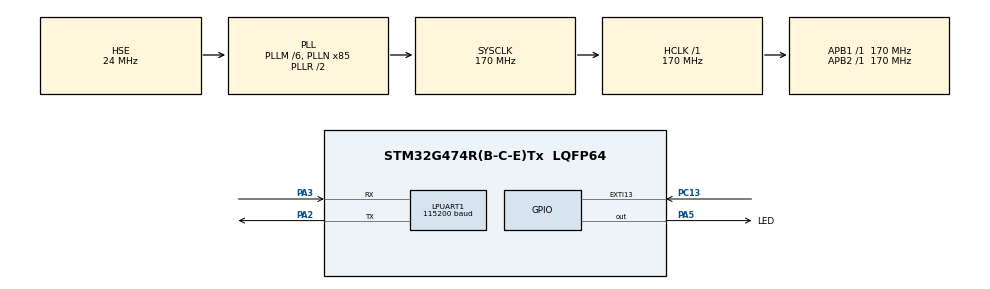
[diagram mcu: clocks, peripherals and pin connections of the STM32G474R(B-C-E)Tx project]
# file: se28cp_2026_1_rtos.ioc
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Dma.LPUART1_TX.0.Direction=DMA_MEMORY_TO_PERIPH
Dma.LPUART1_TX.0.EventEnable=DISABLE
Dma.LPUART1_TX.0.Instance=DMA1_Channel1
Dma.LPUART1_TX.0.MemDataAlignment=DMA_MDATAALIGN_BYTE
Dma.LPUART1_TX.0.MemInc=DMA_MINC_ENABLE
Dma.LPUART1_TX.0.Mode=DMA_NORMAL
Dma.LPUART1_TX.0.PeriphDataAlignment=DMA_PDATAALIGN_BYTE
Dma.LPUART1_TX.0.PeriphInc=DMA_PINC_DISABLE
Dma.LPUART1_TX.0.Polarity=HAL_DMAMUX_REQ_GEN_RISING
Dma.LPUART1_TX.0.Priority=DMA_PRIORITY_LOW
Dma.LPUART1_TX.0.RequestNumber=1
Dma.LPUART1_TX.0.SignalID=NONE
Dma.LPUART1_TX.0.SyncEnable=DISABLE
Dma.LPUART1_TX.0.SyncPolarity=HAL_DMAMUX_SYNC_NO_EVENT
Dma.LPUART1_TX.0.SyncRequestNumber=1
Dma.LPUART1_TX.0.SyncSignalID=NONE
Dma.Request0=LPUART1_TX
FREERTOS.Tasks01=defaultTask,0,256,StartDefaultTask,Default,NULL,Dynamic,NULL,NULL
FREERTOS.configENABLE_FPU=1
FREERTOS.configMAX_TASK_NAME_LEN=32
FREERTOS.configMINIMAL_STACK_SIZE=256
FREERTOS.configTIMER_TASK_STACK_DEPTH=256
FREERTOS.configTOTAL_HEAP_SIZE=16384
FREERTOS.configUSE_NEWLIB_REENTRANT=1
FREERTOS.configUSE_TIMERS=1
LPUART1.BaudRate=115200
Mcu.Family=STM32G4
Mcu.Name=STM32G474R(B-C-E)Tx
Mcu.Package=LQFP64
NVIC.DMA1_Channel1_IRQn=true\:5\:0\:false\:false\:true\:true\:false\:true\:true
NVIC.EXTI15_10_IRQn=true\:5\:0\:false\:false\:true\:true\:true\:true\:true
NVIC.LPUART1_IRQn=true\:5\:0\:false\:false\:true\:true\:true\:true\:true
NVIC.PriorityGroup=NVIC_PRIORITYGROUP_4
NVIC.TIM20_UP_IRQn=true\:15\:0\:false\:false\:true\:false\:false\:true\:true
NVIC.TimeBase=TIM20_UP_IRQn
NVIC.TimeBaseIP=TIM20
PA13.Mode=Serial_Wire
PA13.Signal=SYS_JTMS-SWDIO
PA14.Mode=Serial_Wire
PA14.Signal=SYS_JTCK-SWCLK
PA2.Mode=Asynchronous
PA2.Signal=LPUART1_TX
PA3.Mode=Asynchronous
PA3.Signal=LPUART1_RX
PA5.GPIO_Label=LED
PA5.Signal=GPIO_Output
PC13.GPIO_ModeDefaultEXTI=GPIO_MODE_IT_RISING
PC13.GPIO_PuPd=GPIO_PULLDOWN
PC13.Signal=GPXTI13
PF0-OSC_IN.Mode=HSE-External-Oscillator
PF0-OSC_IN.Signal=RCC_OSC_IN
PF1-OSC_OUT.Mode=HSE-External-Oscillator
PF1-OSC_OUT.Signal=RCC_OSC_OUT
ProjectManager.HeapSize=0x200
ProjectManager.StackSize=0x400
ProjectManager.TargetToolchain=STM32CubeIDE
RCC.ADC12Freq_Value=170000000
RCC.ADC345Freq_Value=170000000
RCC.AHBFreq_Value=170000000
RCC.APB1Freq_Value=170000000
RCC.APB1TimFreq_Value=170000000
RCC.APB2Freq_Value=170000000
RCC.APB2TimFreq_Value=170000000
RCC.CortexFreq_Value=170000000
RCC.EXTERNAL_CLOCK_VALUE=12288000
RCC.HCLKFreq_Value=170000000
RCC.HSE_VALUE=24000000
RCC.HSI48_VALUE=48000000
RCC.HSI_VALUE=16000000
RCC.LSE_VALUE=32768
RCC.PLLM=RCC_PLLM_DIV6
RCC.PLLN=85
RCC.PLLSourceVirtual=RCC_PLLSOURCE_HSE
RCC.SYSCLKFreq_VALUE=170000000
RCC.SYSCLKSource=RCC_SYSCLKSOURCE_PLLCLK
RCC.USBFreq_Value=170000000
RCC.VCOOutputFreq_Value=340000000
VP_FREERTOS_VS_CMSIS_V1.Mode=CMSIS_V1
VP_SYS_VS_DBSignals.Mode=DisableDeadBatterySignals
VP_SYS_VS_tim20.Mode=TIM20
board=custom

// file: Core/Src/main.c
/* USER CODE BEGIN Header */
/**
  ******************************************************************************
  * @file           : main.c
  * @brief          : Main program body
  ******************************************************************************
  * @attention
  *
  * Copyright (c) 2026 STMicroelectronics.
  * All rights reserved.
  *
  * This software is licensed under terms that can be found in the LICENSE file
  * in the root directory of this software component.
  * If no LICENSE file comes with this software, it is provided AS-IS.
  *
  ******************************************************************************
  */
/* USER CODE END Header */
#include "main.h"
#include "cmsis_os.h"

/* USER CODE BEGIN Includes */
#include <string.h>
#include <stdio.h>
#include "keyb.h"
/* USER CODE END Includes */

UART_HandleTypeDef hlpuart1;
DMA_HandleTypeDef hdma_lpuart1_tx;

osThreadId defaultTaskHandle;
/* USER CODE BEGIN PV */
SemaphoreHandle_t uart_mutex_tx;
SemaphoreHandle_t uart_sem_tx;
QueueHandle_t 	  uart_queue_rx;
/* USER CODE END PV */

void SystemClock_Config(void);
static void MX_GPIO_Init(void);
static void MX_DMA_Init(void);
static void MX_LPUART1_UART_Init(void);
void StartDefaultTask(void const * argument);

/* USER CODE BEGIN 0 */
typedef struct led_t_ {
	GPIO_TypeDef *port;
	uint16_t pin;
	TickType_t toggle_time;
}led_t;

void led_task(void *arg){
	led_t *led = (led_t *)arg;
	while(1){
		HAL_GPIO_TogglePin(led->port, led->pin);
		vTaskDelay(led->toggle_time);
	}
}

void HAL_UART_TxCpltCallback(UART_HandleTypeDef *huart)
{
  /* Prevent unused argument(s) compilation warning */
  UNUSED(huart);
  portBASE_TYPE teste = pdFALSE;

  xSemaphoreGiveFromISR(uart_sem_tx, &teste);
  portYIELD_FROM_ISR(teste);

}

void HAL_UART_RxCpltCallback(UART_HandleTypeDef *huart)
{
  /* Prevent unused argument(s) compilation warning */
  UNUSED(huart);
  portBASE_TYPE teste = pdFALSE;

  uint8_t data = huart->Instance->RDR;

  xQueueSendFromISR(uart_queue_rx, &data, &teste);
  portYIELD_FROM_ISR(teste);

}

HAL_StatusTypeDef uart_send_rtos(char *string, uint32_t size, TickType_t timeout){
	HAL_StatusTypeDef ret = HAL_ERROR;
	if (xSemaphoreTake(uart_mutex_tx, timeout) == pdTRUE){
		if (HAL_UART_Transmit_DMA(&hlpuart1, (uint8_t *)string, strlen(string)) == HAL_OK){
			xSemaphoreTake(uart_sem_tx, portMAX_DELAY);
			ret = HAL_OK;
		}
		xSemaphoreGive(uart_mutex_tx);
	}
	return ret;
}

uint32_t cnt1 = 0;
void uart_task(void *arg){
	char *text = (char *)arg;
	while(1){
		if (uart_send_rtos(text, strlen(text), portMAX_DELAY) == HAL_OK){
			cnt1++;
		}
		//taskYIELD();
		vTaskDelay(500);
	}
}

/*
void console_task(void *arg){
	(void)arg;
	uint8_t dados[16];
	while(1){
		// 1. Limpa explicitamente qualquer flag de IDLE residual no hardware
		__HAL_UART_CLEAR_FLAG(&hlpuart1, UART_CLEAR_IDLEF);

		// 2. Opcional: Uma leitura rápida para garantir a limpeza em famílias antigas
		volatile uint32_t tmpreg = hlpuart1.Instance->ISR; // ou ->SR dependendo do modelo
		tmpreg = hlpuart1.Instance->RDR;                   // ou ->DR
		(void)tmpreg; // Evita aviso de variável não utilizada
		if (HAL_UARTEx_ReceiveToIdle_IT(&hlpuart1, dados, 16) == HAL_OK){
			//if (xSemaphoreTake(mutex, portMAX_DELAY) == pdTRUE){
				HAL_UART_Transmit(&hlpuart1, (uint8_t *)dados, strlen((char *)dados), 1000);
				//xSemaphoreGive(mutex);
			//}
		}
	}
}
*/

void uart_rx(void *arg){
	char data;
	char text[128];
	HAL_UART_Receive_IT(&hlpuart1, (uint8_t *)&data, 1);

	while(1){
		xQueueReceive(uart_queue_rx, &data, portMAX_DELAY);
		sprintf(text, "echo: %c\n\r", data);
		uart_send_rtos(text, strlen(text), portMAX_DELAY);
		//uart_send_rtos("echo ", 5, portMAX_DELAY);
		//uart_send_rtos(&data, 1, portMAX_DELAY);
		//uart_send_rtos("\n\r", 2, portMAX_DELAY);
	}
}

volatile int count = 0;
void sobra_cpu(void *argument)
{
  int i = 0;
  int result = 0;
  /* Infinite loop */
  for(;;)
  {
	for(i=0;i<1024;i++){
		result = result ^ i;
	}
	count++;
  }
}

void keyboard_task(void *arg){
	button_t button;
	char text[32];
	keyb_init();
	while(1){
		keyb_read(&button, portMAX_DELAY);
		sprintf(text, "Button pressed: %d\n\r", button);
		uart_send_rtos(text, strlen(text), portMAX_DELAY);
	}
}
/* USER CODE END 0 */

int main(void)
{

  /* MCU Configuration--------------------------------------------------------*/

  /* Reset of all peripherals, Initializes the Flash interface and the Systick. */
  HAL_Init();

  /* Configure the system clock */
  SystemClock_Config();

  /* Initialize all configured peripherals */
  MX_GPIO_Init();
  MX_DMA_Init();
  MX_LPUART1_UART_Init();

  /* USER CODE BEGIN RTOS_MUTEX */
  /* add mutexes, ... */
  uart_mutex_tx = xSemaphoreCreateMutex();
  /* USER CODE END RTOS_MUTEX */

  /* USER CODE BEGIN RTOS_SEMAPHORES */
  /* add semaphores, ... */
  uart_sem_tx = xSemaphoreCreateBinary();
  /* USER CODE END RTOS_SEMAPHORES */

  /* USER CODE BEGIN RTOS_QUEUES */
  /* add queues, ... */
  uart_queue_rx = xQueueCreate(16, sizeof(uint8_t));
  /* USER CODE END RTOS_QUEUES */

  /* Create the thread(s) */
  /* definition and creation of defaultTask */
  osThreadDef(defaultTask, StartDefaultTask, osPriorityNormal, 0, 256);
  defaultTaskHandle = osThreadCreate(osThread(defaultTask), NULL);

  /* USER CODE BEGIN RTOS_THREADS */
  /* add threads, ... */
  static led_t led_green;
  led_green.port = LED_GPIO_Port;
  led_green.pin = LED_Pin;
  led_green.toggle_time = 500;
  xTaskCreate(led_task, "Tarefa do LED GREEN", 128, &led_green, 6, NULL);

  /*
  led_t led_red;
  led_red.port = LED_GPIO_Port;
  led_red.pin = LED_Pin;
  led_red.toggle_time = 250;
  xTaskCreate(led_task, "Tarefa do LED RED", 256, &led_red, 7, NULL);
  */
  static char *text1 = "Ola mundo da tarefa 1!\n\r";
  static char *text2 = "Ola mundo da tarefa 2!\n\r";
  xTaskCreate(uart_task, "UART Task 1", 128, text1, 3, NULL);
  xTaskCreate(uart_task, "UART Task 2", 128, text2, 3, NULL);
  xTaskCreate(uart_rx, "UART RX", 128, NULL, 4, NULL);

  xTaskCreate(sobra_cpu,"Sobra CPU" , 128, NULL, 1, NULL);

  xTaskCreate(keyboard_task, "Keyb Task", 256,  NULL, 3, NULL);
  /* USER CODE END RTOS_THREADS */

  /* Start scheduler */
  osKernelStart();

  /* We should never get here as control is now taken by the scheduler */

  /* Infinite loop */
  while (1)
  {

  }
}

void SystemClock_Config(void)
{
  RCC_OscInitTypeDef RCC_OscInitStruct = {0};
  RCC_ClkInitTypeDef RCC_ClkInitStruct = {0};

  /** Configure the main internal regulator output voltage
  */
  HAL_PWREx_ControlVoltageScaling(PWR_REGULATOR_VOLTAGE_SCALE1_BOOST);

  /** Initializes the RCC Oscillators according to the specified parameters
  * in the RCC_OscInitTypeDef structure.
  */
  RCC_OscInitStruct.OscillatorType = RCC_OSCILLATORTYPE_HSE;
  RCC_OscInitStruct.HSEState = RCC_HSE_ON;
  RCC_OscInitStruct.PLL.PLLState = RCC_PLL_ON;
  RCC_OscInitStruct.PLL.PLLSource = RCC_PLLSOURCE_HSE;
  RCC_OscInitStruct.PLL.PLLM = RCC_PLLM_DIV6;
  RCC_OscInitStruct.PLL.PLLN = 85;
  RCC_OscInitStruct.PLL.PLLP = RCC_PLLP_DIV2;
  RCC_OscInitStruct.PLL.PLLQ = RCC_PLLQ_DIV2;
  RCC_OscInitStruct.PLL.PLLR = RCC_PLLR_DIV2;
  if (HAL_RCC_OscConfig(&RCC_OscInitStruct) != HAL_OK)
  {
    Error_Handler();
  }

  /** Initializes the CPU, AHB and APB buses clocks
  */
  RCC_ClkInitStruct.ClockType = RCC_CLOCKTYPE_HCLK|RCC_CLOCKTYPE_SYSCLK
                              |RCC_CLOCKTYPE_PCLK1|RCC_CLOCKTYPE_PCLK2;
  RCC_ClkInitStruct.SYSCLKSource = RCC_SYSCLKSOURCE_PLLCLK;
  RCC_ClkInitStruct.AHBCLKDivider = RCC_SYSCLK_DIV1;
  RCC_ClkInitStruct.APB1CLKDivider = RCC_HCLK_DIV1;
  RCC_ClkInitStruct.APB2CLKDivider = RCC_HCLK_DIV1;

  if (HAL_RCC_ClockConfig(&RCC_ClkInitStruct, FLASH_LATENCY_4) != HAL_OK)
  {
    Error_Handler();
  }
}

static void MX_LPUART1_UART_Init(void)
{

  hlpuart1.Instance = LPUART1;
  hlpuart1.Init.BaudRate = 115200;
  hlpuart1.Init.WordLength = UART_WORDLENGTH_8B;
  hlpuart1.Init.StopBits = UART_STOPBITS_1;
  hlpuart1.Init.Parity = UART_PARITY_NONE;
  hlpuart1.Init.Mode = UART_MODE_TX_RX;
  hlpuart1.Init.HwFlowCtl = UART_HWCONTROL_NONE;
  hlpuart1.Init.OneBitSampling = UART_ONE_BIT_SAMPLE_DISABLE;
  hlpuart1.Init.ClockPrescaler = UART_PRESCALER_DIV1;
  hlpuart1.AdvancedInit.AdvFeatureInit = UART_ADVFEATURE_NO_INIT;
  if (HAL_UART_Init(&hlpuart1) != HAL_OK)
  {
    Error_Handler();
  }
  if (HAL_UARTEx_SetTxFifoThreshold(&hlpuart1, UART_TXFIFO_THRESHOLD_1_8) != HAL_OK)
  {
    Error_Handler();
  }
  if (HAL_UARTEx_SetRxFifoThreshold(&hlpuart1, UART_RXFIFO_THRESHOLD_1_8) != HAL_OK)
  {
    Error_Handler();
  }
  if (HAL_UARTEx_DisableFifoMode(&hlpuart1) != HAL_OK)
  {
    Error_Handler();
  }

}

static void MX_DMA_Init(void)
{

  /* DMA controller clock enable */
  __HAL_RCC_DMAMUX1_CLK_ENABLE();
  __HAL_RCC_DMA1_CLK_ENABLE();

  /* DMA interrupt init */
  /* DMA1_Channel1_IRQn interrupt configuration */
  HAL_NVIC_SetPriority(DMA1_Channel1_IRQn, 5, 0);
  HAL_NVIC_EnableIRQ(DMA1_Channel1_IRQn);

}

static void MX_GPIO_Init(void)
{
  GPIO_InitTypeDef GPIO_InitStruct = {0};

  /* GPIO Ports Clock Enable */
  __HAL_RCC_GPIOC_CLK_ENABLE();
  __HAL_RCC_GPIOF_CLK_ENABLE();
  __HAL_RCC_GPIOA_CLK_ENABLE();

  /*Configure GPIO pin Output Level */
  HAL_GPIO_WritePin(LED_GPIO_Port, LED_Pin, GPIO_PIN_RESET);

  /*Configure GPIO pin : PC13 */
  GPIO_InitStruct.Pin = GPIO_PIN_13;
  GPIO_InitStruct.Mode = GPIO_MODE_IT_RISING;
  GPIO_InitStruct.Pull = GPIO_PULLDOWN;
  HAL_GPIO_Init(GPIOC, &GPIO_InitStruct);

  /*Configure GPIO pin : LED_Pin */
  GPIO_InitStruct.Pin = LED_Pin;
  GPIO_InitStruct.Mode = GPIO_MODE_OUTPUT_PP;
  GPIO_InitStruct.Pull = GPIO_NOPULL;
  GPIO_InitStruct.Speed = GPIO_SPEED_FREQ_LOW;
  HAL_GPIO_Init(LED_GPIO_Port, &GPIO_InitStruct);

  /* EXTI interrupt init*/
  HAL_NVIC_SetPriority(EXTI15_10_IRQn, 5, 0);
  HAL_NVIC_EnableIRQ(EXTI15_10_IRQn);

}

void StartDefaultTask(void const * argument)
{
  for(;;)
  {
    osDelay(1);
  }
}

void HAL_TIM_PeriodElapsedCallback(TIM_HandleTypeDef *htim)
{
  /* USER CODE BEGIN Callback 0 */
  if (xTaskGetTickCount() >= 1000){
	  cnt1 = 0;
  }
  /* USER CODE END Callback 0 */
  if (htim->Instance == TIM20)
  {
    HAL_IncTick();
  }
}

void Error_Handler(void)
{
  __disable_irq();
  while (1)
  {
  }
}
